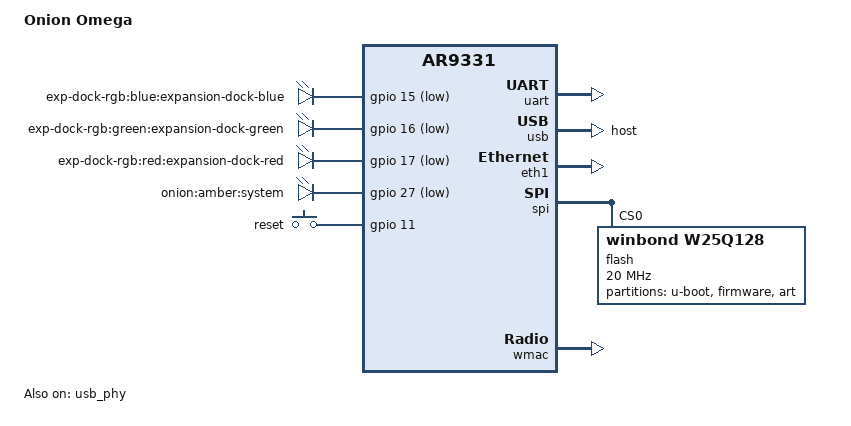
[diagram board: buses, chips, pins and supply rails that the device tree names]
// SPDX-License-Identifier: GPL-2.0
/dts-v1/;

#include <dt-bindings/gpio/gpio.h>
#include <dt-bindings/input/input.h>

#include "ar9331.dtsi"

/ {
	model = "Onion Omega";
	compatible = "onion,omega", "qca,ar9331";

	aliases {
		serial0 = &uart;
		led-boot = &led_system;
		led-failsafe = &led_system;
		led-running = &led_system;
		led-upgrade = &led_system;
	};

	leds {
		compatible = "gpio-leds";

		expansion-dock-blue {
			label = "exp-dock-rgb:blue:expansion-dock-blue";
			gpios = <&gpio 15 GPIO_ACTIVE_LOW>;
		};
		expansion-dock-green {
			label = "exp-dock-rgb:green:expansion-dock-green";
			gpios = <&gpio 16 GPIO_ACTIVE_LOW>;
		};
		expansion-dock-red {
			label = "exp-dock-rgb:red:expansion-dock-red";
			gpios = <&gpio 17 GPIO_ACTIVE_LOW>;
		};

		led_system: system {
			label = "onion:amber:system";
			gpios = <&gpio 27 GPIO_ACTIVE_LOW>;
		};
	};

	keys {
		compatible = "gpio-keys-polled";
		poll-interval = <100>;

		button0 {
			label = "reset";
			linux,code = <KEY_RESTART>;
			gpios = <&gpio 11 GPIO_ACTIVE_HIGH>;
		};
	};
};

&ref {
	clock-frequency = <25000000>;
};

&uart {
	status = "okay";
};

&gpio {
	status = "okay";
};

&usb {
	dr_mode = "host";
	status = "okay";
};

&usb_phy {
	status = "okay";
};

&eth0 {
	status = "okay";
	compatible = "syscon", "simple-mfd";
};

&eth1 {
	status = "okay";
	mtd-mac-address = <&uboot 0x01fc00>;
	mac-address-increment = <(-1)>;

	gmac-config {
		device = <&gmac>;
		switch-phy-addr-swap = <4>;
		switch-phy-swap = <4>;
	};
};


&spi {
	num-chipselects = <1>;
	status = "okay";

	/* Winbond 25Q128FVSG SPI flash */
	flash@0 {
		compatible = "winbond,w25q128", "jedec,spi-nor";
		spi-max-frequency = <20000000>;
		reg = <0>;

		partitions {
			compatible = "fixed-partitions";
			#address-cells = <1>;
			#size-cells = <1>;

			uboot: partition@0 {
				label = "u-boot";
				reg = <0x000000 0x020000>;
				read-only;
			};

			partition@20000 {
				compatible = "tplink,firmware";
				label = "firmware";
				reg = <0x020000 0xfd0000>;
			};

			art: partition@ff0000 {
				label = "art";
				reg = <0xff0000 0x010000>;
				read-only;
			};
		};
	};
};

&wmac {
	status = "okay";
	mtd-cal-data = <&art 0x1000>;
	mtd-mac-address = <&uboot 0x01fc00>;
};
